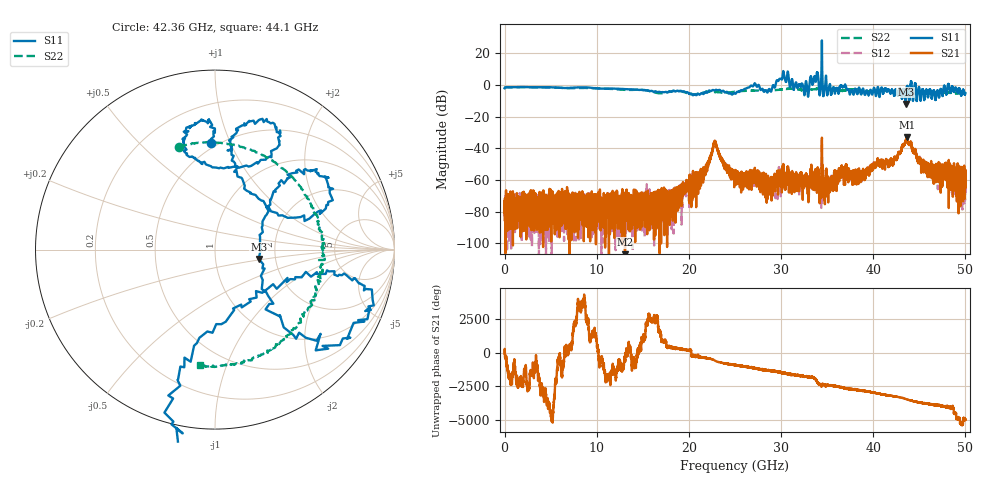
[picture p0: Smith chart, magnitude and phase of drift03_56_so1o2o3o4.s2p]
!Created with skrf (http://scikit-rf.org).
# Hz S RI R 50.0
!freq ReS11 ImS11 ReS21 ImS21 ReS12 ImS12 ReS22 ImS22
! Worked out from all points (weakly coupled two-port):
!   10000 points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, 5.3 MHz to 50 GHz, reference 50 ohm
!   highest |S21| = -33.05 dB at 43.64 GHz (marker M1); lowest = -116.3 dB at 13.07 GHz (marker M2)
!   lowest |S11| = -12.1 dB at 43.53 GHz (marker M3), VSWR 1.66, Z = 81.6 - j8.99 ohm
!   |S11| at or under -10 dB: 43.48357 GHz to 43.55523 GHz (71.67 MHz wide, 0.165 % of centre); 44.30904 GHz to 44.31076 GHz (1.722 MHz wide, 0.00389 % of centre); 44.70981 GHz to 44.7102 GHz (383.9 kHz wide, 0.000859 % of centre) (the widest 3 of 5)
!   |S22| runs from -5.9 to -1.3 dB; largest |S21 - S12| = 0.012
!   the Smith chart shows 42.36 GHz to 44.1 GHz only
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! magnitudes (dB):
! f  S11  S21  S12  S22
! 5.3 MHz  -2.1  -75.2  -83.6  -2.1
! 8.34 GHz  -1.5  -70.4  -73.9  -1.9
! 13.07 GHz  -2.6  -116.3  -76.7  -3.1
! 16.67 GHz  -4.4  -66.3  -72.0  -5.2
! 21.21 GHz  -6.0  -59.7  -57.4  -5.3
! 22.82 GHz  -3.4  -35.4  -35.4  -4.4
! 23.93 GHz  -4.8  -50.3  -50.5  -4.9
! 25.01 GHz  -5.5  -56.7  -55.4  -4.3
! 27.01 GHz  -0.4  -56.5  -57.4  -3.6
! 28.87 GHz  -4.0  -60.1  -64.3  -3.5
! 30.14 GHz  4.4  -56.8  -55.7  -2.8
! 32.74 GHz  2.0  -58.5  -60.1  -3.3
! 33.34 GHz  2.5  -55.7  -57.2  -2.9
! 33.82 GHz  4.0  -57.9  -59.2  -2.5
! 34.92 GHz  2.4  -52.8  -58.1  -2.4
! 36.46 GHz  -0.5  -56.6  -55.9  -3.6
! 38.12 GHz  -2.8  -57.8  -57.1  -2.7
! 41.67 GHz  -3.0  -50.2  -50.3  -3.7
! 43.53 GHz  -12.1  -35.2  -35.2  -4.2
! 43.64 GHz  -2.0  -33.0  -33.6  -4.0
! 45.85 GHz  -4.6  -50.7  -51.0  -5.4
! 50 GHz  -5.2  -57.5  -61.3  -5.0
